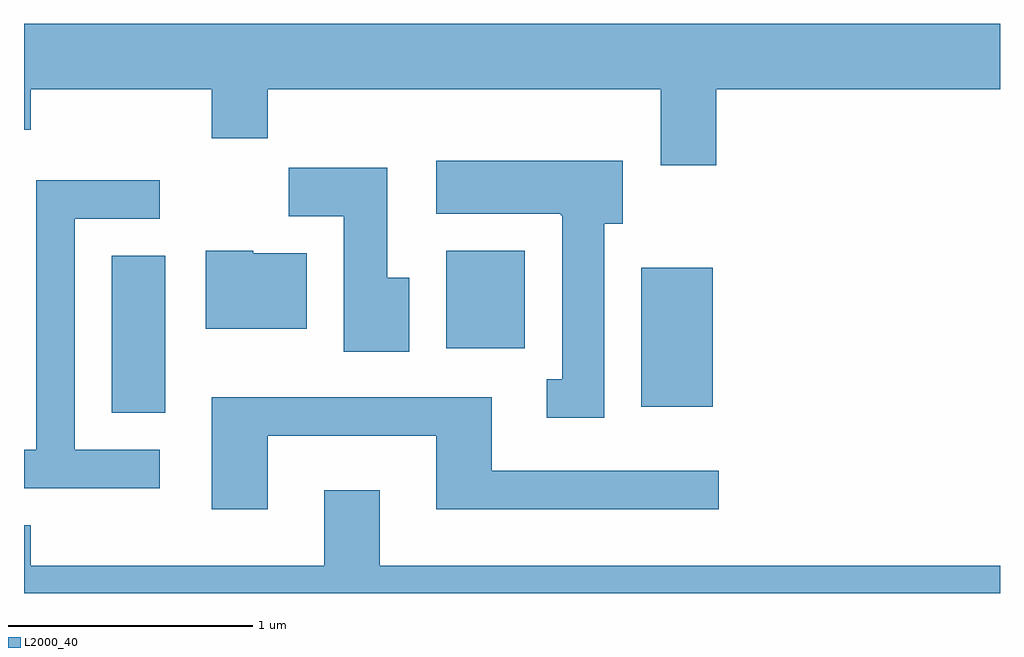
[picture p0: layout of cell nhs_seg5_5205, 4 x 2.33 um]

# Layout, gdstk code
import gdstk
lib = gdstk.Library(unit=1e-6, precision=1e-09)
def R(c, l, rs):  # rectangles x0, y0, x1, y1
    for r in rs: c.add(gdstk.rectangle(r[:2], r[2:], *l))
def P(c, l, *ps):  # polygons
    for p in ps: c.add(gdstk.Polygon(p, *l))
L2000_40 = (2000, 40)

nhs_seg5_5205 = lib.new_cell('nhs_seg5_5205')
R(nhs_seg5_5205, L2000_40, [(339.971,1448.811,340.189,1449.454), (342.141,1448.836,342.434,1449.404), (341.341,1449.076,341.664,1449.474)])
P(nhs_seg5_5205, L2000_40, [(342.449,1450.136),(343.611,1450.136),(343.611,1450.404),(339.611,1450.404),(339.611,1449.971),(339.639,1449.971),(339.639,1450.136),(340.381,1450.136),(340.381,1449.936),(340.609,1449.936),(340.609,1450.136),(342.221,1450.136),(342.221,1449.826),(342.449,1449.826)],
  [(341.989,1449.586),(342.064,1449.586),(342.064,1449.844),(341.301,1449.844),(341.301,1449.626),(341.81,1449.626),(341.81,1449.62),(341.816,1449.62),(341.816,1448.949),(341.753,1448.949),(341.753,1448.791),(341.989,1448.791)],
  [(341.189,1449.364),(341.099,1449.364),(341.099,1449.814),(340.696,1449.814),(340.696,1449.616),(340.921,1449.616),(340.921,1449.061),(341.189,1449.061)],
  [(340.168,1448.659),(339.819,1448.659),(339.819,1449.606),(340.168,1449.606),(340.168,1449.764),(339.661,1449.764),(339.661,1448.659),(339.611,1448.659),(339.611,1448.501),(340.168,1448.501)],
  [(340.769,1449.464),(340.55,1449.464),(340.55,1449.474),(340.356,1449.474),(340.356,1449.156),(340.769,1449.156)],
  [(340.609,1448.716),(341.301,1448.716),(341.301,1448.416),(342.458,1448.416),(342.458,1448.574),(341.529,1448.574),(341.529,1448.874),(340.381,1448.874),(340.381,1448.416),(340.609,1448.416)],
  [(343.611,1448.184),(341.069,1448.184),(341.069,1448.494),(340.841,1448.494),(340.841,1448.184),(339.639,1448.184),(339.639,1448.349),(339.611,1448.349),(339.611,1448.072),(343.611,1448.072)])

lib.write_gds('nhs_seg5_5205.gds')
